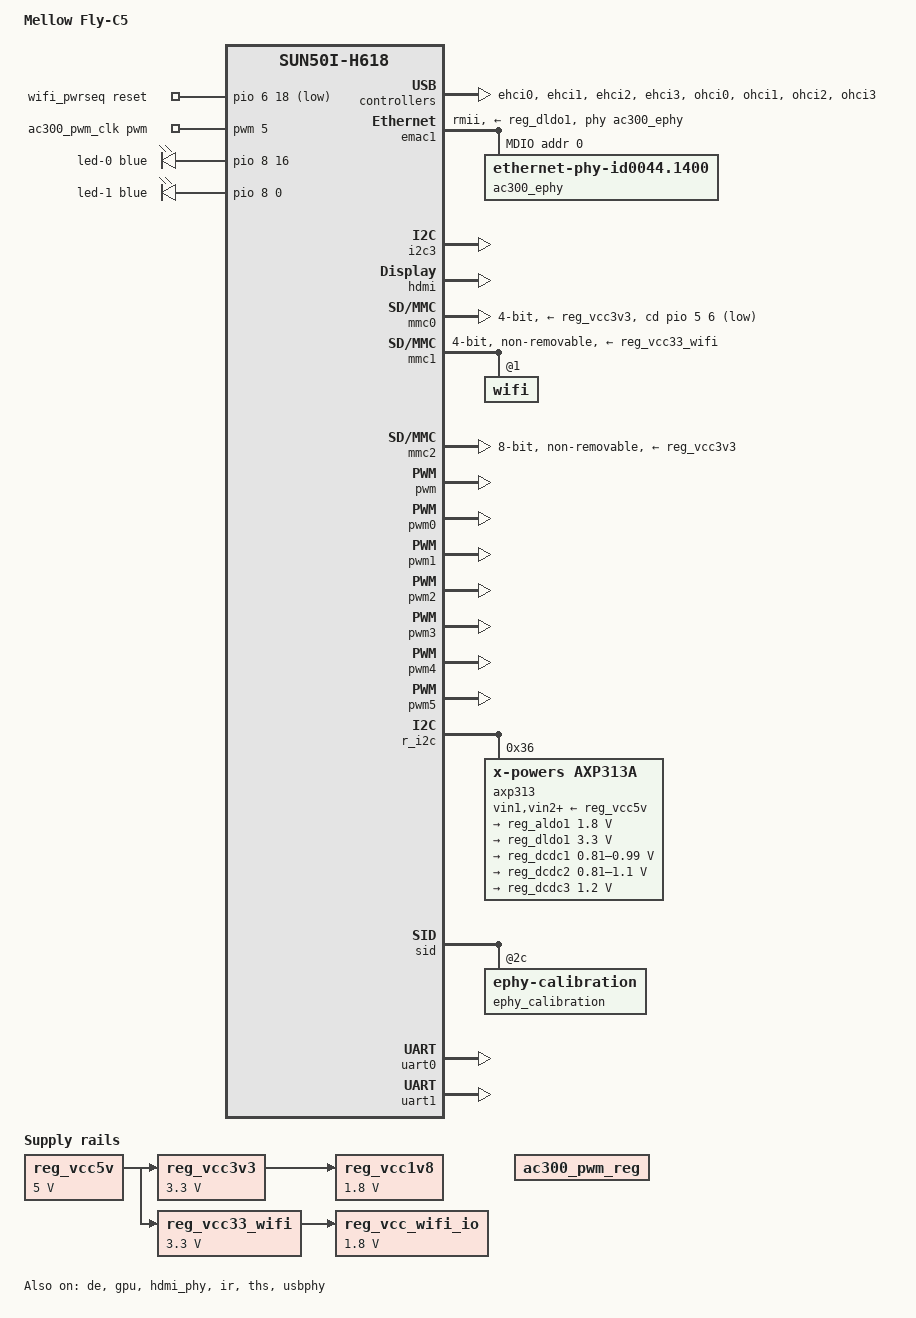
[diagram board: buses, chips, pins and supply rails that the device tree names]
// SPDX-License-Identifier: (GPL-2.0+ OR MIT)
/*
 * Copyright (c) 2026 Alastair D'Silva <alastair@d-silva.org>
 */

/dts-v1/;

#include "sun50i-h616.dtsi"
#include "sun50i-h616-cpu-opp.dtsi"

#include <dt-bindings/gpio/gpio.h>
#include <dt-bindings/interrupt-controller/arm-gic.h>
#include <dt-bindings/interrupt-controller/irq.h>
#include <dt-bindings/leds/common.h>

/ {
	model = "Mellow Fly-C5";
	compatible = "mellow,fly-c5", "allwinner,sun50i-h618";

	aliases {
		ethernet0 = &emac1;
		serial0 = &uart0;
		serial1 = &uart1;
		mmc0 = &mmc0; /* SD Card */
		mmc1 = &mmc1; /* Wi-Fi */
		mmc2 = &mmc2; /* eMMC */
	};

	chosen {
		stdout-path = "serial0:115200n8";
	};

	reg_vcc5v: regulator-vcc5v {
		/* Board wide 5V supply */
		compatible = "regulator-fixed";
		regulator-always-on;
		regulator-min-microvolt = <5000000>;
		regulator-max-microvolt = <5000000>;
		regulator-name = "vcc-5v";
	};

	reg_vcc3v3: regulator-vcc3v3 {
		/* Fixed 3.3V for internal modules */
		compatible = "regulator-fixed";
		regulator-always-on;
		regulator-min-microvolt = <3300000>;
		regulator-max-microvolt = <3300000>;
		regulator-name = "vcc-3v3";
		vin-supply = <&reg_vcc5v>;
	};

	reg_vcc1v8: regulator-vcc1v8 {
		/* Fixed 1.8V for internal modules */
		compatible = "regulator-fixed";
		regulator-always-on;
		regulator-min-microvolt = <1800000>;
		regulator-max-microvolt = <1800000>;
		regulator-name = "vcc-1v8";
		vin-supply = <&reg_vcc3v3>;
	};

	reg_vcc33_wifi: regulator-vcc33-wifi {
		compatible = "regulator-fixed";
		regulator-always-on;
		regulator-min-microvolt = <3300000>;
		regulator-max-microvolt = <3300000>;
		regulator-name = "vcc33-wifi";
		vin-supply = <&reg_vcc5v>;
	};

	reg_vcc_wifi_io: regulator-vcc-wifi-io {
		compatible = "regulator-fixed";
		regulator-always-on;
		regulator-min-microvolt = <1800000>;
		regulator-max-microvolt = <1800000>;
		regulator-name = "vcc-wifi-io";
		vin-supply = <&reg_vcc33_wifi>;
	};

	ac300_pwm_reg: ac300-pwm-regulator {
		compatible = "regulator-fixed-clock";
		regulator-always-on;
		regulator-name = "ac300-pwm-reg";
		clocks = <&ac300_pwm_clk>;
	};

	wifi_pwrseq: wifi-pwrseq {
		compatible = "mmc-pwrseq-simple";
		clocks = <&rtc CLK_OSC32K_FANOUT>;
		clock-names = "ext_clock";
		pinctrl-0 = <&x32clk_fanout_pin>;
		pinctrl-names = "default";
		post-power-on-delay-ms = <200>;
		reset-gpios = <&pio 6 18 GPIO_ACTIVE_LOW>; /* PG18 */
	};

	ac300_pwm_clk: ac300-clk {
		compatible = "pwm-clock";
		#clock-cells = <0>;
		pwms = <&pwm 5 500 0>; /* 500ns period -> 2MHz */
		clock-frequency = <2000000>;
	};

	leds {
		compatible = "gpio-leds";

		led-0 {
			function = LED_FUNCTION_POWER;
			color = <LED_COLOR_ID_BLUE>;
			gpios = <&pio 8 16 GPIO_ACTIVE_HIGH>; /* PI16 */
			default-state = "on";
		};

		led-1 {
			function = LED_FUNCTION_STATUS;
			color = <LED_COLOR_ID_BLUE>;
			gpios = <&pio 8 0 GPIO_ACTIVE_HIGH>; /* PI0 */
			linux,default-trigger = "heartbeat";
		};
	};
};

&cpu0 {
	cpu-supply = <&reg_dcdc2>;
};

&de {
	status = "okay";
};

&ehci0 {
	status = "okay";
};

&ehci1 {
	status = "okay";
};

&ehci2 {
	status = "okay";
};

&ehci3 {
	status = "okay";
};

&emac1 {
	compatible = "allwinner,sun50i-h616-internal-emac";
	reg = <0x05030000 0x10000>;
	syscon = <&syscon 1>;
	clocks = <&ccu CLK_BUS_EMAC1>, <&ccu CLK_EMAC_25M>;
	clock-names = "stmmaceth", "emac-25m";
	interrupt-names = "macirq";
	pinctrl-names = "default";
	pinctrl-0 = <&rmii_pins>;
	phy-mode = "rmii";
	phy-handle = <&ac300_ephy>;
	phy-supply = <&reg_dldo1>;
	allwinner,rx-delay-ps = <3100>;
	allwinner,tx-delay-ps = <700>;
	status = "okay";

	/delete-property/ reg-names;
	/delete-property/ phy-rst;
	/delete-property/ gmac-power0;
	/delete-property/ gmac-power1;
	/delete-property/ gmac-power2;

	mdio-mux {
		compatible = "allwinner,sun8i-h3-mdio-mux";
		#address-cells = <1>;
		#size-cells = <0>;
		mdio-parent-bus = <&mdio1>;

		internal_mdio: mdio@1 {
			compatible = "allwinner,sun8i-h3-mdio-internal";
			reg = <1>;
			#address-cells = <1>;
			#size-cells = <0>;

			ac300_ephy: ethernet-phy@0 {
				compatible = "ethernet-phy-id0044.1400", "allwinner,sun50i-h618-ac300-ephy", "ethernet-phy-ieee802.3-c22";
				reg = <0>;
				clocks = <&ccu CLK_EMAC_25M>, <&ac300_pwm_clk>;
				clock-names = "ephy", "pwm";
				nvmem-cells = <&ephy_calibration>;
				nvmem-cell-names = "calibration";
				status = "okay";
			};
		};
	};
};

&mdio1 {
	compatible = "snps,dwmac-mdio";
};

&i2c3 {
	pinctrl-names = "default";
	pinctrl-0 = <&i2c3_pa_pins>;
	status = "okay";
};

&gpu {
	mali-supply = <&reg_dcdc1>;
	status = "okay";
};

&hdmi {
	hvcc-supply = <&reg_aldo1>;
	vcc-hdmi-supply = <&reg_dldo1>;
	status = "okay";
};

&hdmi_phy {
	status = "okay";
};

&ir {
	status = "okay";
};

&mmc0 {
	vmmc-supply = <&reg_vcc3v3>;
	cd-gpios = <&pio 5 6 GPIO_ACTIVE_LOW>; /* PF6 */
	bus-width = <4>;
	status = "okay";
};

&mmc1 {
	vmmc-supply = <&reg_vcc33_wifi>;
	mmc-pwrseq = <&wifi_pwrseq>;
	bus-width = <4>;
	non-removable;
	no-1-8-v;
	mmc-ddr-3_3v;
	cap-sd-highspeed;
	cap-mmc-highspeed;
	status = "okay";

	wifi@1 {
		reg = <1>;
	};
};

&mmc2 {
	vmmc-supply = <&reg_vcc3v3>;
	vqmmc-supply = <&reg_vcc3v3>;
	bus-width = <8>;
	non-removable;
	cap-mmc-hw-reset;
	cap-mmc-highspeed;
	no-1-8-v;
	max-frequency = <40000000>;
	status = "okay";
};

&ohci0 {
	status = "okay";
};

&ohci1 {
	status = "okay";
};

&ohci2 {
	status = "okay";
};

&ohci3 {
	status = "okay";
};

&pio {
	vcc-pc-supply = <&reg_dldo1>;
	vcc-pf-supply = <&reg_dldo1>;
	vcc-pg-supply = <&reg_dldo1>;
	vcc-ph-supply = <&reg_dldo1>;
	vcc-pi-supply = <&reg_dldo1>;
};

&pwm {
	pwm-number = <6>;
	pwm-base = <0>;
	sunxi-pwms = <&pwm0>, <&pwm1>, <&pwm2>, <&pwm3>, <&pwm4>, <&pwm5>;
	status = "okay";
};

&pwm0 {
	status = "okay";
};

&pwm1 {
	status = "okay";
};

&pwm2 {
	status = "okay";
};

&pwm3 {
	status = "okay";
};

&pwm4 {
	status = "okay";
};

&pwm5 {
	pinctrl-names = "default";
	pinctrl-0 = <&pwm5_pin>;
	clk_bypass_output = <1>;
	status = "okay";
};

&r_i2c {
	status = "okay";

	axp313: pmic@36 {
		compatible = "x-powers,axp313a";
		reg = <0x36>;
		#interrupt-cells = <1>;
		interrupt-controller;
		/*
		 * Omit interrupt to break dependency cycle with &pio.
		 * reg_dldo1 supplies &pio, so &pio depends on PMIC.
		 * PMIC interrupt on PC9 depends on &pio.
		 */

		vin1-supply = <&reg_vcc5v>;
		vin2-supply = <&reg_vcc5v>;
		vin3-supply = <&reg_vcc5v>;

		regulators {
			/* Supplies VCC-PLL and DRAM */
			reg_aldo1: aldo1 {
				regulator-always-on;
				regulator-min-microvolt = <1800000>;
				regulator-max-microvolt = <1800000>;
				regulator-name = "vcc1v8";
			};

			/* Supplies VCC-IO, so needs to be always on. */
			reg_dldo1: dldo1 {
				regulator-always-on;
				regulator-min-microvolt = <3300000>;
				regulator-max-microvolt = <3300000>;
				regulator-name = "vcc3v3";
			};

			reg_dcdc1: dcdc1 {
				regulator-always-on;
				regulator-min-microvolt = <810000>;
				regulator-max-microvolt = <990000>;
				regulator-name = "vdd-gpu-sys";
			};

			reg_dcdc2: dcdc2 {
				regulator-always-on;
				regulator-min-microvolt = <810000>;
				regulator-max-microvolt = <1100000>;
				regulator-name = "vdd-cpu";
			};

			reg_dcdc3: dcdc3 {
				regulator-always-on;
				regulator-min-microvolt = <1200000>;
				regulator-max-microvolt = <1200000>;
				regulator-name = "vdd-dram";
			};
		};
	};
};

&sid {
	ephy_calibration: ephy-calibration@2c {
		reg = <0x2c 0x2>;
	};
};

&ths {
	status = "okay";
};

&uart0 {
	pinctrl-names = "default";
	pinctrl-0 = <&uart0_ph_pins>;
	status = "okay";
};

&uart1 {
	pinctrl-names = "default";
	pinctrl-0 = <&uart1_pins>;
	status = "okay";
};

&usbphy {
	usb1_vbus-supply = <&reg_vcc5v>;
	usb2_vbus-supply = <&reg_vcc5v>;
	usb3_vbus-supply = <&reg_vcc5v>;
	status = "okay";
};
